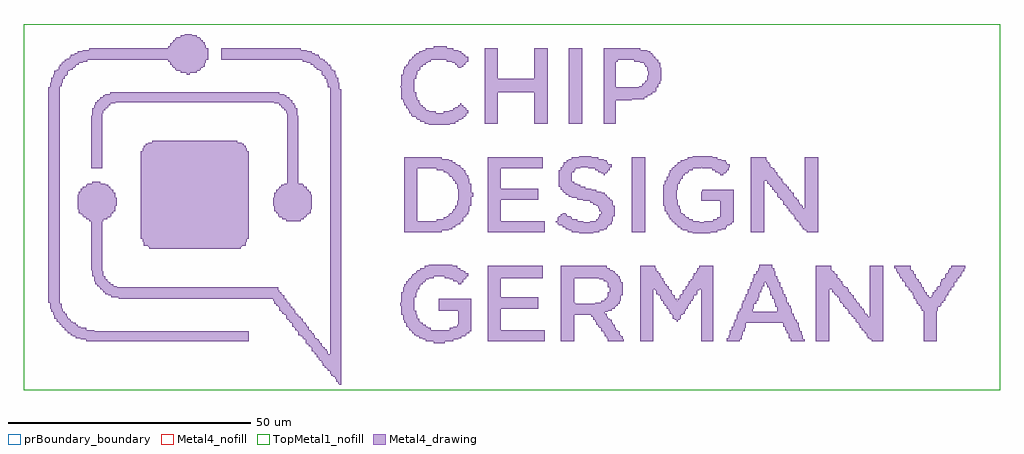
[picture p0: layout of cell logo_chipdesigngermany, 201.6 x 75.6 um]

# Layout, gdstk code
import gdstk
lib = gdstk.Library(unit=1e-6, precision=1e-09)
def R(c, l, rs):  # rectangles x0, y0, x1, y1
    for r in rs: c.add(gdstk.rectangle(r[:2], r[2:], *l))
def P(c, l, *ps):  # polygons
    for p in ps: c.add(gdstk.Polygon(p, *l))
Metal4_drawing = (50, 0)
Metal4_nofill = (50, 23)
TopMetal1_nofill = (126, 23)
prBoundary_boundary = (189, 4)

logo_chipdesigngermany = lib.new_cell('logo_chipdesigngermany')
R(logo_chipdesigngermany, Metal4_drawing, [(125.58,32.55,128.31,48.09), (112.56,55.02,115.29,70.56)])
P(logo_chipdesigngermany, Metal4_drawing, [(95.76,10.08),(95.76,25.62),(107.1,25.62),(107.1,23.1),(98.49,23.1),(98.49,19.11),(106.26,19.11),(106.26,16.8),(98.49,16.8),(98.49,12.39),(107.52,12.39),(107.52,10.08)],
  [(110.88,10.08),(110.88,23.1),(113.61,23.1),(113.61,18.06),(113.82,18.06),(113.82,17.85),(118.02,17.85),(118.02,18.06),(119.28,18.06),(119.28,18.48),(119.91,18.48),(119.91,18.9),(120.33,18.9),(120.33,19.11),(120.54,19.11),(120.54,20.16),(120.96,20.16),(120.96,21.21),(120.54,21.21),(120.54,22.26),(120.33,22.26),(120.33,22.47),(119.7,22.47),(119.7,22.89),(118.86,22.89),(118.86,23.1),(110.88,23.1),(110.88,25.62),(120.33,25.62),(120.33,25.2),(120.96,25.2),(120.96,24.78),(121.59,24.78),(121.59,24.57),(122.01,24.57),(122.01,24.15),(122.22,24.15),(122.22,23.94),(122.64,23.94),(122.64,23.52),(123.06,23.52),(123.06,22.89),(123.27,22.89),(123.27,22.26),(123.69,22.26),(123.69,19.53),(123.27,19.53),(123.27,18.48),(123.06,18.48),(123.06,17.85),(122.64,17.85),(122.64,17.43),(122.22,17.43),(122.22,17.22),(122.01,17.22),(122.01,16.8),(121.38,16.8),(121.38,16.38),(120.54,16.38),(120.54,16.17),(119.91,16.17),(119.91,15.75),(120.33,15.75),(120.33,15.12),(120.54,15.12),(120.54,14.7),(120.96,14.7),(120.96,14.49),(121.38,14.49),(121.38,13.86),(121.59,13.86),(121.59,13.44),(122.01,13.44),(122.01,12.81),(122.22,12.81),(122.22,12.39),(122.64,12.39),(122.64,12.18),(123.06,12.18),(123.06,11.34),(123.27,11.34),(123.27,11.13),(123.69,11.13),(123.69,10.5),(123.9,10.5),(123.9,10.08),(120.54,10.08),(120.54,10.71),(120.33,10.71),(120.33,11.13),(119.91,11.13),(119.91,11.76),(119.7,11.76),(119.7,12.18),(119.28,12.18),(119.28,12.81),(118.86,12.81),(118.86,13.02),(118.65,13.02),(118.65,13.44),(118.23,13.44),(118.23,14.07),(118.02,14.07),(118.02,14.49),(117.6,14.49),(117.6,15.12),(117.18,15.12),(117.18,15.54),(113.61,15.54),(113.61,10.08)],
  [(127.26,10.08),(127.26,25.62),(130.41,25.62),(130.41,25.2),(130.62,25.2),(130.62,24.57),(131.04,24.57),(131.04,24.15),(131.46,24.15),(131.46,23.52),(131.67,23.52),(131.67,23.1),(132.09,23.1),(132.09,22.47),(132.3,22.47),(132.3,21.84),(132.72,21.84),(132.72,21.42),(133.14,21.42),(133.14,20.79),(133.35,20.79),(133.35,20.58),(133.77,20.58),(133.77,19.74),(133.98,19.74),(133.98,19.53),(134.4,19.53),(134.4,18.9),(134.82,18.9),(134.82,18.48),(135.03,18.48),(135.03,18.9),(135.45,18.9),(135.45,19.53),(135.66,19.53),(135.66,19.74),(136.08,19.74),(136.08,20.58),(136.5,20.58),(136.5,20.79),(136.71,20.79),(136.71,21.42),(137.13,21.42),(137.13,21.84),(137.34,21.84),(137.34,22.47),(137.76,22.47),(137.76,22.89),(138.18,22.89),(138.18,23.52),(138.39,23.52),(138.39,24.15),(138.81,24.15),(138.81,24.57),(139.02,24.57),(139.02,25.2),(139.44,25.2),(139.44,25.62),(142.38,25.62),(142.38,10.08),(139.86,10.08),(139.86,20.79),(139.44,20.79),(139.44,20.58),(139.02,20.58),(139.02,19.74),(138.81,19.74),(138.81,19.53),(138.39,19.53),(138.39,18.9),(138.18,18.9),(138.18,18.48),(137.76,18.48),(137.76,17.85),(137.34,17.85),(137.34,17.43),(137.13,17.43),(137.13,16.8),(136.71,16.8),(136.71,16.38),(136.5,16.38),(136.5,15.75),(136.08,15.75),(136.08,15.54),(135.66,15.54),(135.66,14.7),(135.45,14.7),(135.45,14.49),(135.03,14.49),(135.03,14.07),(134.82,14.07),(134.82,14.49),(134.4,14.49),(134.4,14.7),(133.98,14.7),(133.98,15.54),(133.77,15.54),(133.77,15.75),(133.35,15.75),(133.35,16.38),(133.14,16.38),(133.14,16.8),(132.72,16.8),(132.72,17.43),(132.3,17.43),(132.3,17.85),(132.09,17.85),(132.09,18.48),(131.67,18.48),(131.67,18.9),(131.46,18.9),(131.46,19.53),(131.04,19.53),(131.04,19.74),(130.62,19.74),(130.62,20.58),(130.41,20.58),(130.41,20.79),(129.99,20.79),(129.99,10.08)],
  [(163.59,10.08),(163.59,25.62),(166.74,25.62),(166.74,24.78),(166.95,24.78),(166.95,24.57),(167.37,24.57),(167.37,24.15),(167.58,24.15),(167.58,23.94),(168,23.94),(168,23.1),(168.42,23.1),(168.42,22.89),(168.63,22.89),(168.63,22.47),(169.05,22.47),(169.05,21.84),(169.26,21.84),(169.26,21.42),(169.68,21.42),(169.68,21.21),(170.1,21.21),(170.1,20.79),(170.31,20.79),(170.31,20.16),(170.73,20.16),(170.73,19.74),(170.94,19.74),(170.94,19.53),(171.36,19.53),(171.36,18.9),(171.78,18.9),(171.78,18.48),(171.99,18.48),(171.99,18.06),(172.41,18.06),(172.41,17.85),(172.62,17.85),(172.62,17.22),(173.04,17.22),(173.04,16.8),(173.46,16.8),(173.46,16.38),(173.67,16.38),(173.67,15.75),(174.09,15.75),(174.09,15.54),(174.3,15.54),(174.3,15.12),(174.72,15.12),(174.72,25.62),(177.45,25.62),(177.45,10.08),(175.14,10.08),(175.14,10.5),(174.72,10.5),(174.72,10.71),(174.3,10.71),(174.3,11.13),(174.09,11.13),(174.09,11.76),(173.67,11.76),(173.67,12.18),(173.46,12.18),(173.46,12.39),(173.04,12.39),(173.04,12.81),(172.62,12.81),(172.62,13.44),(172.41,13.44),(172.41,13.86),(171.99,13.86),(171.99,14.07),(171.78,14.07),(171.78,14.7),(171.36,14.7),(171.36,15.12),(170.94,15.12),(170.94,15.54),(170.73,15.54),(170.73,15.75),(170.31,15.75),(170.31,16.38),(170.1,16.38),(170.1,16.8),(169.68,16.8),(169.68,17.22),(169.26,17.22),(169.26,17.85),(169.05,17.85),(169.05,18.06),(168.63,18.06),(168.63,18.48),(168.42,18.48),(168.42,19.11),(168,19.11),(168,19.53),(167.58,19.53),(167.58,19.74),(167.37,19.74),(167.37,20.16),(166.95,20.16),(166.95,20.79),(166.32,20.79),(166.32,10.08)],
  [(185.85,10.08),(185.85,16.38),(185.43,16.38),(185.43,16.8),(185.22,16.8),(185.22,17.43),(184.8,17.43),(184.8,17.85),(184.38,17.85),(184.38,18.48),(184.17,18.48),(184.17,18.9),(183.75,18.9),(183.75,19.53),(183.54,19.53),(183.54,20.16),(183.12,20.16),(183.12,20.58),(182.7,20.58),(182.7,21.21),(182.49,21.21),(182.49,21.42),(182.07,21.42),(182.07,22.26),(181.86,22.26),(181.86,22.47),(181.44,22.47),(181.44,23.1),(181.02,23.1),(181.02,23.52),(180.81,23.52),(180.81,24.15),(180.39,24.15),(180.39,24.57),(180.18,24.57),(180.18,25.2),(179.76,25.2),(179.76,25.62),(183.12,25.62),(183.12,24.78),(183.54,24.78),(183.54,24.57),(183.75,24.57),(183.75,23.94),(184.17,23.94),(184.17,23.1),(184.38,23.1),(184.38,22.89),(184.8,22.89),(184.8,22.26),(185.22,22.26),(185.22,21.84),(185.43,21.84),(185.43,21.21),(185.85,21.21),(185.85,20.58),(186.06,20.58),(186.06,20.16),(186.48,20.16),(186.48,19.53),(186.9,19.53),(186.9,19.11),(187.53,19.11),(187.53,19.53),(187.74,19.53),(187.74,20.16),(188.16,20.16),(188.16,20.58),(188.58,20.58),(188.58,21.21),(188.79,21.21),(188.79,21.42),(189.21,21.42),(189.21,22.26),(189.42,22.26),(189.42,22.89),(189.84,22.89),(189.84,23.1),(190.26,23.1),(190.26,23.94),(190.47,23.94),(190.47,24.15),(190.89,24.15),(190.89,24.78),(191.1,24.78),(191.1,25.2),(191.52,25.2),(191.52,25.62),(194.46,25.62),(194.46,25.2),(194.25,25.2),(194.25,24.57),(193.83,24.57),(193.83,24.15),(193.62,24.15),(193.62,23.52),(193.2,23.52),(193.2,23.1),(192.78,23.1),(192.78,22.47),(192.57,22.47),(192.57,22.26),(192.15,22.26),(192.15,21.42),(191.94,21.42),(191.94,21.21),(191.52,21.21),(191.52,20.58),(191.1,20.58),(191.1,20.16),(190.89,20.16),(190.89,19.53),(190.47,19.53),(190.47,19.11),(190.26,19.11),(190.26,18.48),(189.84,18.48),(189.84,18.06),(189.42,18.06),(189.42,17.43),(189.21,17.43),(189.21,17.22),(188.79,17.22),(188.79,16.38),(188.58,16.38),(188.58,10.08)],
  [(84.63,9.66),(84.63,10.08),(82.95,10.08),(82.95,10.5),(82.32,10.5),(82.32,10.71),(81.69,10.71),(81.69,11.13),(81.06,11.13),(81.06,11.34),(80.64,11.34),(80.64,11.76),(80.22,11.76),(80.22,12.18),(80.01,12.18),(80.01,12.39),(79.59,12.39),(79.59,12.81),(79.38,12.81),(79.38,13.02),(78.96,13.02),(78.96,13.86),(78.54,13.86),(78.54,14.49),(78.33,14.49),(78.33,15.54),(77.91,15.54),(77.91,17.43),(77.7,17.43),(77.7,18.06),(77.91,18.06),(77.91,20.16),(78.33,20.16),(78.33,21.21),(78.54,21.21),(78.54,21.84),(78.96,21.84),(78.96,22.47),(79.38,22.47),(79.38,22.89),(79.59,22.89),(79.59,23.1),(80.01,23.1),(80.01,23.52),(80.22,23.52),(80.22,23.94),(80.64,23.94),(80.64,24.15),(81.06,24.15),(81.06,24.57),(81.27,24.57),(81.27,24.78),(81.9,24.78),(81.9,25.2),(82.74,25.2),(82.74,25.62),(83.58,25.62),(83.58,25.83),(88.41,25.83),(88.41,25.62),(89.46,25.62),(89.46,25.2),(90.09,25.2),(90.09,24.78),(90.72,24.78),(90.72,24.57),(91.14,24.57),(91.14,24.15),(91.77,24.15),(91.77,23.52),(91.35,23.52),(91.35,23.1),(91.14,23.1),(91.14,22.89),(90.72,22.89),(90.72,22.26),(90.3,22.26),(90.3,21.84),(89.67,21.84),(89.67,22.26),(89.46,22.26),(89.46,22.47),(88.62,22.47),(88.62,22.89),(87.99,22.89),(87.99,23.1),(86.94,23.1),(86.94,23.52),(84.63,23.52),(84.63,23.1),(83.58,23.1),(83.58,22.89),(82.95,22.89),(82.95,22.47),(82.74,22.47),(82.74,22.26),(82.32,22.26),(82.32,21.84),(81.9,21.84),(81.9,21.42),(81.69,21.42),(81.69,20.79),(81.27,20.79),(81.27,20.16),(81.06,20.16),(81.06,19.11),(80.64,19.11),(80.64,16.38),(81.06,16.38),(81.06,15.54),(81.27,15.54),(81.27,14.7),(81.69,14.7),(81.69,14.07),(81.9,14.07),(81.9,13.86),(82.32,13.86),(82.32,13.44),(82.95,13.44),(82.95,13.02),(83.37,13.02),(83.37,12.81),(84,12.81),(84,12.39),(87.99,12.39),(87.99,12.81),(88.62,12.81),(88.62,13.02),(89.46,13.02),(89.46,13.44),(89.67,13.44),(89.67,16.38),(85.68,16.38),(85.68,18.9),(92.4,18.9),(92.4,12.18),(91.98,12.18),(91.98,11.76),(91.35,11.76),(91.35,11.34),(91.14,11.34),(91.14,11.13),(90.3,11.13),(90.3,10.71),(89.67,10.71),(89.67,10.5),(88.62,10.5),(88.62,10.08),(86.94,10.08),(86.94,9.66)],
  [(145.11,10.08),(145.11,10.71),(145.53,10.71),(145.53,11.34),(145.74,11.34),(145.74,12.39),(146.16,12.39),(146.16,13.02),(146.58,13.02),(146.58,13.86),(146.79,13.86),(146.79,14.49),(147.21,14.49),(147.21,15.54),(147.42,15.54),(147.42,16.17),(147.84,16.17),(147.84,16.8),(148.26,16.8),(148.26,17.85),(148.47,17.85),(148.47,18.48),(148.89,18.48),(148.89,19.11),(149.1,19.11),(149.1,19.74),(149.52,19.74),(149.52,20.79),(149.94,20.79),(149.94,21.42),(150.15,21.42),(150.15,22.26),(152.88,22.26),(152.88,21.42),(152.46,21.42),(152.46,20.79),(152.25,20.79),(152.25,20.16),(151.83,20.16),(151.83,19.11),(151.62,19.11),(151.62,18.48),(151.2,18.48),(151.2,17.85),(150.78,17.85),(150.78,16.8),(150.57,16.8),(150.57,16.17),(155.61,16.17),(155.61,17.22),(155.19,17.22),(155.19,18.06),(154.98,18.06),(154.98,18.9),(154.56,18.9),(154.56,19.53),(154.14,19.53),(154.14,20.58),(153.93,20.58),(153.93,21.21),(153.51,21.21),(153.51,21.84),(153.3,21.84),(153.3,22.26),(150.57,22.26),(150.57,23.1),(150.78,23.1),(150.78,23.94),(151.2,23.94),(151.2,24.57),(151.62,24.57),(151.62,25.2),(151.83,25.2),(151.83,25.83),(154.56,25.83),(154.56,25.2),(154.98,25.2),(154.98,24.57),(155.19,24.57),(155.19,23.52),(155.61,23.52),(155.61,22.89),(155.82,22.89),(155.82,22.26),(156.24,22.26),(156.24,21.21),(156.66,21.21),(156.66,20.58),(156.87,20.58),(156.87,19.74),(157.29,19.74),(157.29,19.11),(157.5,19.11),(157.5,18.06),(157.92,18.06),(157.92,17.43),(158.34,17.43),(158.34,16.8),(158.55,16.8),(158.55,15.75),(158.97,15.75),(158.97,15.12),(159.18,15.12),(159.18,14.49),(159.6,14.49),(159.6,13.86),(160.02,13.86),(160.02,12.81),(160.23,12.81),(160.23,12.18),(160.65,12.18),(160.65,11.34),(160.86,11.34),(160.86,10.5),(161.28,10.5),(161.28,10.08),(158.34,10.08),(158.34,10.71),(157.92,10.71),(157.92,11.76),(157.5,11.76),(157.5,12.39),(157.29,12.39),(157.29,13.02),(156.87,13.02),(156.87,13.86),(149.1,13.86),(149.1,12.81),(148.89,12.81),(148.89,12.18),(148.47,12.18),(148.47,11.34),(148.26,11.34),(148.26,10.5),(147.84,10.5),(147.84,10.08)],
  [(78.54,32.55),(78.54,45.78),(81.27,45.78),(81.27,34.86),(85.26,34.86),(85.26,35.28),(86.73,35.28),(86.73,35.7),(87.36,35.7),(87.36,35.91),(87.78,35.91),(87.78,36.33),(87.99,36.33),(87.99,36.54),(88.41,36.54),(88.41,36.96),(88.62,36.96),(88.62,37.38),(89.04,37.38),(89.04,38.01),(89.46,38.01),(89.46,39.06),(89.67,39.06),(89.67,41.58),(89.46,41.58),(89.46,42.63),(89.04,42.63),(89.04,43.26),(88.62,43.26),(88.62,43.68),(88.41,43.68),(88.41,44.1),(87.99,44.1),(87.99,44.31),(87.78,44.31),(87.78,44.73),(87.36,44.73),(87.36,44.94),(86.73,44.94),(86.73,45.36),(85.26,45.36),(85.26,45.78),(78.54,45.78),(78.54,48.09),(86.31,48.09),(86.31,47.67),(87.78,47.67),(87.78,47.46),(88.41,47.46),(88.41,47.04),(89.04,47.04),(89.04,46.62),(89.46,46.62),(89.46,46.41),(90.09,46.41),(90.09,45.99),(90.3,45.99),(90.3,45.78),(90.72,45.78),(90.72,45.36),(91.14,45.36),(91.14,44.73),(91.35,44.73),(91.35,44.31),(91.77,44.31),(91.77,43.68),(91.98,43.68),(91.98,42.63),(92.4,42.63),(92.4,40.74),(92.82,40.74),(92.82,39.9),(92.4,39.9),(92.4,38.01),(91.98,38.01),(91.98,36.96),(91.77,36.96),(91.77,36.33),(91.35,36.33),(91.35,35.91),(91.14,35.91),(91.14,35.7),(90.72,35.7),(90.72,34.86),(90.3,34.86),(90.3,34.65),(90.09,34.65),(90.09,34.23),(89.46,34.23),(89.46,34.02),(89.04,34.02),(89.04,33.6),(88.41,33.6),(88.41,33.18),(87.78,33.18),(87.78,32.97),(86.31,32.97),(86.31,32.55)],
  [(95.76,32.55),(95.76,48.09),(107.1,48.09),(107.1,45.78),(98.49,45.78),(98.49,41.58),(106.26,41.58),(106.26,39.27),(98.49,39.27),(98.49,34.86),(107.52,34.86),(107.52,32.55)],
  [(150.15,32.55),(150.15,48.09),(153.3,48.09),(153.3,47.46),(153.51,47.46),(153.51,47.04),(153.93,47.04),(153.93,46.62),(154.14,46.62),(154.14,45.99),(154.56,45.99),(154.56,45.78),(154.98,45.78),(154.98,45.36),(155.19,45.36),(155.19,44.94),(155.61,44.94),(155.61,44.31),(155.82,44.31),(155.82,44.1),(156.24,44.1),(156.24,43.68),(156.66,43.68),(156.66,43.05),(156.87,43.05),(156.87,42.63),(157.29,42.63),(157.29,42.42),(157.5,42.42),(157.5,42),(157.92,42),(157.92,41.37),(158.34,41.37),(158.34,40.95),(158.55,40.95),(158.55,40.74),(158.97,40.74),(158.97,39.9),(159.18,39.9),(159.18,39.69),(159.6,39.69),(159.6,39.27),(160.02,39.27),(160.02,38.64),(160.23,38.64),(160.23,38.22),(160.65,38.22),(160.65,38.01),(160.86,38.01),(160.86,37.59),(161.28,37.59),(161.28,48.09),(164.01,48.09),(164.01,32.55),(161.7,32.55),(161.7,32.97),(161.28,32.97),(161.28,33.18),(160.86,33.18),(160.86,33.6),(160.65,33.6),(160.65,34.02),(160.23,34.02),(160.23,34.65),(160.02,34.65),(160.02,34.86),(159.6,34.86),(159.6,35.28),(159.18,35.28),(159.18,35.91),(158.97,35.91),(158.97,36.33),(158.55,36.33),(158.55,36.54),(158.34,36.54),(158.34,36.96),(157.92,36.96),(157.92,37.59),(157.5,37.59),(157.5,38.01),(157.29,38.01),(157.29,38.22),(156.87,38.22),(156.87,39.06),(156.66,39.06),(156.66,39.27),(156.24,39.27),(156.24,39.69),(155.82,39.69),(155.82,39.9),(155.61,39.9),(155.61,40.74),(155.19,40.74),(155.19,40.95),(154.98,40.95),(154.98,41.37),(154.56,41.37),(154.56,42),(154.14,42),(154.14,42.42),(153.93,42.42),(153.93,42.63),(153.51,42.63),(153.51,43.26),(152.88,43.26),(152.88,32.55)],
  [(114.66,32.34),(114.66,32.55),(113.19,32.55),(113.19,32.97),(112.56,32.97),(112.56,33.18),(111.93,33.18),(111.93,33.6),(111.3,33.6),(111.3,34.02),(110.46,34.02),(110.46,34.23),(110.25,34.23),(110.25,34.65),(109.83,34.65),(109.83,34.86),(110.25,34.86),(110.25,35.7),(110.46,35.7),(110.46,35.91),(110.88,35.91),(110.88,36.33),(111.3,36.33),(111.3,36.54),(111.93,36.54),(111.93,36.33),(112.14,36.33),(112.14,35.91),(112.98,35.91),(112.98,35.7),(113.19,35.7),(113.19,35.28),(114.24,35.28),(114.24,34.86),(115.5,34.86),(115.5,34.65),(116.97,34.65),(116.97,34.86),(118.23,34.86),(118.23,35.28),(118.65,35.28),(118.65,35.7),(118.86,35.7),(118.86,36.33),(119.28,36.33),(119.28,36.96),(118.86,36.96),(118.86,37.59),(118.65,37.59),(118.65,38.01),(118.23,38.01),(118.23,38.22),(117.6,38.22),(117.6,38.64),(116.97,38.64),(116.97,39.06),(115.5,39.06),(115.5,39.27),(114.24,39.27),(114.24,39.69),(113.19,39.69),(113.19,39.9),(112.56,39.9),(112.56,40.32),(111.93,40.32),(111.93,40.74),(111.51,40.74),(111.51,40.95),(111.3,40.95),(111.3,41.37),(110.88,41.37),(110.88,42),(110.46,42),(110.46,45.36),(110.88,45.36),(110.88,45.99),(111.3,45.99),(111.3,46.41),(111.51,46.41),(111.51,47.04),(112.14,47.04),(112.14,47.46),(112.56,47.46),(112.56,47.67),(113.19,47.67),(113.19,48.09),(114.66,48.09),(114.66,48.3),(117.18,48.3),(117.18,48.09),(118.65,48.09),(118.65,47.67),(119.7,47.67),(119.7,47.46),(120.33,47.46),(120.33,47.04),(120.54,47.04),(120.54,46.62),(121.38,46.62),(121.38,45.99),(120.96,45.99),(120.96,45.36),(120.54,45.36),(120.54,44.94),(120.33,44.94),(120.33,44.73),(119.91,44.73),(119.91,44.31),(119.7,44.31),(119.7,44.73),(119.28,44.73),(119.28,44.94),(118.65,44.94),(118.65,45.36),(118.02,45.36),(118.02,45.78),(116.55,45.78),(116.55,45.99),(114.87,45.99),(114.87,45.78),(113.82,45.78),(113.82,45.36),(113.61,45.36),(113.61,44.94),(113.19,44.94),(113.19,43.05),(113.61,43.05),(113.61,42.63),(114.24,42.63),(114.24,42.42),(114.87,42.42),(114.87,42),(115.92,42),(115.92,41.58),(117.18,41.58),(117.18,41.37),(118.23,41.37),(118.23,40.95),(119.28,40.95),(119.28,40.74),(119.91,40.74),(119.91,40.32),(120.33,40.32),(120.33,39.9),(120.54,39.9),(120.54,39.69),(120.96,39.69),(120.96,39.27),(121.38,39.27),(121.38,39.06),(121.59,39.06),(121.59,38.01),(122.01,38.01),(122.01,35.91),(121.59,35.91),(121.59,34.86),(121.38,34.86),(121.38,34.23),(120.96,34.23),(120.96,34.02),(120.54,34.02),(120.54,33.6),(120.33,33.6),(120.33,33.18),(119.7,33.18),(119.7,32.97),(118.86,32.97),(118.86,32.55),(117.6,32.55),(117.6,32.34)],
  [(138.18,32.34),(138.18,32.55),(137.13,32.55),(137.13,32.97),(136.08,32.97),(136.08,33.18),(135.66,33.18),(135.66,33.6),(135.03,33.6),(135.03,34.02),(134.82,34.02),(134.82,34.23),(134.4,34.23),(134.4,34.65),(133.98,34.65),(133.98,34.86),(133.77,34.86),(133.77,35.28),(133.35,35.28),(133.35,35.7),(133.14,35.7),(133.14,36.33),(132.72,36.33),(132.72,36.96),(132.3,36.96),(132.3,38.01),(132.09,38.01),(132.09,42.42),(132.3,42.42),(132.3,43.26),(132.72,43.26),(132.72,44.1),(133.14,44.1),(133.14,44.73),(133.35,44.73),(133.35,45.36),(133.77,45.36),(133.77,45.78),(133.98,45.78),(133.98,45.99),(134.4,45.99),(134.4,46.41),(134.82,46.41),(134.82,46.62),(135.03,46.62),(135.03,47.04),(135.66,47.04),(135.66,47.46),(136.5,47.46),(136.5,47.67),(137.13,47.67),(137.13,48.09),(138.18,48.09),(138.18,48.3),(142.17,48.3),(142.17,48.09),(143.22,48.09),(143.22,47.67),(144.06,47.67),(144.06,47.46),(144.9,47.46),(144.9,47.04),(145.11,47.04),(145.11,46.62),(145.74,46.62),(145.74,45.99),(145.53,45.99),(145.53,45.36),(145.11,45.36),(145.11,44.94),(144.9,44.94),(144.9,44.73),(144.48,44.73),(144.48,44.31),(143.85,44.31),(143.85,44.73),(143.43,44.73),(143.43,44.94),(142.8,44.94),(142.8,45.36),(142.17,45.36),(142.17,45.78),(140.07,45.78),(140.07,45.99),(139.86,45.99),(139.86,45.78),(138.18,45.78),(138.18,45.36),(137.34,45.36),(137.34,44.94),(137.13,44.94),(137.13,44.73),(136.5,44.73),(136.5,44.31),(136.08,44.31),(136.08,43.68),(135.66,43.68),(135.66,43.26),(135.45,43.26),(135.45,42.63),(135.03,42.63),(135.03,41.37),(134.82,41.37),(134.82,39.27),(135.03,39.27),(135.03,38.01),(135.45,38.01),(135.45,37.38),(135.66,37.38),(135.66,36.54),(136.08,36.54),(136.08,36.33),(136.5,36.33),(136.5,35.91),(136.71,35.91),(136.71,35.7),(137.34,35.7),(137.34,35.28),(138.18,35.28),(138.18,34.86),(139.44,34.86),(139.44,34.65),(140.49,34.65),(140.49,34.86),(142.38,34.86),(142.38,35.28),(143.22,35.28),(143.22,35.7),(143.85,35.7),(143.85,39.06),(139.86,39.06),(139.86,40.95),(140.07,40.95),(140.07,41.37),(146.58,41.37),(146.58,34.65),(146.16,34.65),(146.16,34.23),(145.74,34.23),(145.74,34.02),(145.11,34.02),(145.11,33.6),(144.9,33.6),(144.9,33.18),(144.06,33.18),(144.06,32.97),(143.22,32.97),(143.22,32.55),(141.75,32.55),(141.75,32.34)],
  [(25.83,29.19),(25.83,29.61),(25.62,29.61),(25.62,29.82),(24.78,29.82),(24.78,30.66),(24.57,30.66),(24.57,31.29),(24.15,31.29),(24.15,49.35),(24.57,49.35),(24.57,49.98),(24.78,49.98),(24.78,50.4),(25.2,50.4),(25.2,50.82),(25.62,50.82),(25.62,51.03),(26.46,51.03),(26.46,51.45),(44.1,51.45),(44.1,51.03),(44.94,51.03),(44.94,50.82),(45.36,50.82),(45.36,50.4),(45.78,50.4),(45.78,49.98),(45.99,49.98),(45.99,49.35),(46.41,49.35),(46.41,31.29),(45.99,31.29),(45.99,30.66),(45.78,30.66),(45.78,29.82),(44.94,29.82),(44.94,29.61),(44.73,29.61),(44.73,29.19)],
  [(54.18,34.86),(54.18,35.28),(53.34,35.28),(53.34,35.7),(52.71,35.7),(52.71,35.91),(52.5,35.91),(52.5,36.54),(52.08,36.54),(52.08,36.96),(51.66,36.96),(51.66,38.01),(51.45,38.01),(51.45,39.69),(51.66,39.69),(51.66,40.74),(52.08,40.74),(52.08,41.37),(52.5,41.37),(52.5,41.58),(52.71,41.58),(52.71,42),(53.13,42),(53.13,42.42),(53.76,42.42),(53.76,42.63),(54.39,42.63),(54.39,57.12),(54.18,57.12),(54.18,57.75),(53.76,57.75),(53.76,58.17),(53.34,58.17),(53.34,58.38),(53.13,58.38),(53.13,58.8),(52.71,58.8),(52.71,59.22),(51.66,59.22),(51.66,59.43),(18.9,59.43),(18.9,59.22),(17.85,59.22),(17.85,58.8),(17.43,58.8),(17.43,58.38),(17.22,58.38),(17.22,58.17),(16.8,58.17),(16.8,57.75),(16.38,57.75),(16.38,57.12),(16.17,57.12),(16.17,45.78),(13.86,45.78),(13.86,56.7),(14.07,56.7),(14.07,58.17),(14.49,58.17),(14.49,58.8),(14.7,58.8),(14.7,59.43),(15.12,59.43),(15.12,59.85),(15.54,59.85),(15.54,60.06),(15.75,60.06),(15.75,60.48),(16.38,60.48),(16.38,60.9),(16.8,60.9),(16.8,61.11),(17.85,61.11),(17.85,61.53),(52.71,61.53),(52.71,61.11),(53.76,61.11),(53.76,60.9),(54.18,60.9),(54.18,60.48),(54.81,60.48),(54.81,60.06),(55.02,60.06),(55.02,59.85),(55.44,59.85),(55.44,59.22),(55.86,59.22),(55.86,58.8),(56.07,58.8),(56.07,58.17),(56.49,58.17),(56.49,56.7),(56.7,56.7),(56.7,42.63),(57.54,42.63),(57.54,42.42),(57.75,42.42),(57.75,42),(58.38,42),(58.38,41.37),(58.8,41.37),(58.8,40.95),(59.22,40.95),(59.22,40.32),(59.43,40.32),(59.43,37.38),(59.22,37.38),(59.22,36.54),(58.8,36.54),(58.8,36.33),(58.38,36.33),(58.38,35.91),(58.17,35.91),(58.17,35.7),(57.75,35.7),(57.75,35.28),(57.12,35.28),(57.12,34.86)],
  [(65.1,1.05),(65.1,1.26),(64.89,1.26),(64.89,1.68),(64.47,1.68),(64.47,2.31),(64.26,2.31),(64.26,2.73),(63.84,2.73),(63.84,2.94),(63.42,2.94),(63.42,3.36),(63.21,3.36),(63.21,3.99),(62.79,3.99),(62.79,4.41),(62.58,4.41),(62.58,4.62),(62.16,4.62),(62.16,5.04),(61.74,5.04),(61.74,5.67),(61.53,5.67),(61.53,6.09),(61.11,6.09),(61.11,6.3),(60.9,6.3),(60.9,6.72),(60.48,6.72),(60.48,7.35),(60.06,7.35),(60.06,7.77),(59.85,7.77),(59.85,7.98),(59.43,7.98),(59.43,8.82),(59.22,8.82),(59.22,9.03),(58.8,9.03),(58.8,9.45),(58.38,9.45),(58.38,9.66),(58.17,9.66),(58.17,10.5),(57.75,10.5),(57.75,10.71),(57.54,10.71),(57.54,11.13),(57.12,11.13),(57.12,11.34),(56.7,11.34),(56.7,12.18),(56.49,12.18),(56.49,12.39),(56.07,12.39),(56.07,12.81),(55.86,12.81),(55.86,13.02),(55.44,13.02),(55.44,13.86),(55.02,13.86),(55.02,14.07),(54.81,14.07),(54.81,14.49),(54.39,14.49),(54.39,14.7),(54.18,14.7),(54.18,15.54),(53.76,15.54),(53.76,15.75),(53.34,15.75),(53.34,16.17),(53.13,16.17),(53.13,16.38),(52.71,16.38),(52.71,17.22),(52.5,17.22),(52.5,17.43),(52.08,17.43),(52.08,17.85),(51.66,17.85),(51.66,18.48),(51.45,18.48),(51.45,18.9),(19.53,18.9),(19.53,19.11),(18.06,19.11),(18.06,19.53),(17.43,19.53),(17.43,19.74),(16.8,19.74),(16.8,20.16),(16.38,20.16),(16.38,20.58),(16.17,20.58),(16.17,20.79),(15.75,20.79),(15.75,21.21),(15.54,21.21),(15.54,21.42),(15.12,21.42),(15.12,21.84),(14.7,21.84),(14.7,22.47),(14.49,22.47),(14.49,23.52),(14.07,23.52),(14.07,24.78),(13.86,24.78),(13.86,34.86),(13.44,34.86),(13.44,35.28),(12.81,35.28),(12.81,35.7),(12.39,35.7),(12.39,35.91),(12.18,35.91),(12.18,36.33),(11.76,36.33),(11.76,36.54),(11.34,36.54),(11.34,37.38),(11.13,37.38),(11.13,40.32),(11.34,40.32),(11.34,40.95),(11.76,40.95),(11.76,41.58),(12.18,41.58),(12.18,42),(12.81,42),(12.81,42.42),(13.02,42.42),(13.02,42.63),(14.07,42.63),(14.07,43.05),(15.75,43.05),(15.75,42.63),(16.8,42.63),(16.8,42.42),(17.43,42.42),(17.43,42),(17.85,42),(17.85,41.58),(18.06,41.58),(18.06,41.37),(18.48,41.37),(18.48,40.74),(18.9,40.74),(18.9,39.69),(19.11,39.69),(19.11,38.01),(18.9,38.01),(18.9,36.96),(18.48,36.96),(18.48,36.54),(18.06,36.54),(18.06,35.91),(17.85,35.91),(17.85,35.7),(17.22,35.7),(17.22,35.28),(16.38,35.28),(16.38,34.86),(16.17,34.86),(16.17,24.57),(16.38,24.57),(16.38,23.52),(16.8,23.52),(16.8,22.89),(17.22,22.89),(17.22,22.47),(17.43,22.47),(17.43,22.26),(17.85,22.26),(17.85,21.84),(18.48,21.84),(18.48,21.42),(19.11,21.42),(19.11,21.21),(52.5,21.21),(52.5,20.58),(52.71,20.58),(52.71,20.16),(53.13,20.16),(53.13,19.74),(53.34,19.74),(53.34,19.53),(53.76,19.53),(53.76,18.9),(54.18,18.9),(54.18,18.48),(54.39,18.48),(54.39,18.06),(54.81,18.06),(54.81,17.85),(55.02,17.85),(55.02,17.22),(55.44,17.22),(55.44,16.8),(55.86,16.8),(55.86,16.38),(56.07,16.38),(56.07,15.75),(56.49,15.75),(56.49,15.54),(56.7,15.54),(56.7,15.12),(57.12,15.12),(57.12,14.7),(57.54,14.7),(57.54,14.07),(57.75,14.07),(57.75,13.86),(58.17,13.86),(58.17,13.44),(58.38,13.44),(58.38,13.02),(58.8,13.02),(58.8,12.39),(59.22,12.39),(59.22,12.18),(59.43,12.18),(59.43,11.76),(59.85,11.76),(59.85,11.34),(60.06,11.34),(60.06,10.71),(60.48,10.71),(60.48,10.5),(60.9,10.5),(60.9,10.08),(61.11,10.08),(61.11,9.66),(61.53,9.66),(61.53,9.03),(61.74,9.03),(61.74,8.82),(62.16,8.82),(62.16,8.4),(62.58,8.4),(62.58,7.98),(62.79,7.98),(62.79,7.35),(63.21,7.35),(63.21,62.58),(62.79,62.58),(62.79,63.42),(62.58,63.42),(62.58,64.26),(62.16,64.26),(62.16,64.89),(61.74,64.89),(61.74,65.1),(61.53,65.1),(61.53,65.94),(61.11,65.94),(61.11,66.15),(60.48,66.15),(60.48,66.57),(60.06,66.57),(60.06,66.78),(59.85,66.78),(59.85,67.2),(59.22,67.2),(59.22,67.62),(58.38,67.62),(58.38,67.83),(57.54,67.83),(57.54,68.25),(40.74,68.25),(40.74,70.56),(57.12,70.56),(57.12,70.14),(58.38,70.14),(58.38,69.93),(59.43,69.93),(59.43,69.51),(60.06,69.51),(60.06,69.3),(60.9,69.3),(60.9,68.88),(61.11,68.88),(61.11,68.46),(61.74,68.46),(61.74,68.25),(62.16,68.25),(62.16,67.83),(62.58,67.83),(62.58,67.62),(62.79,67.62),(62.79,67.2),(63.21,67.2),(63.21,66.78),(63.42,66.78),(63.42,66.15),(63.84,66.15),(63.84,65.94),(64.26,65.94),(64.26,65.1),(64.47,65.1),(64.47,64.47),(64.89,64.47),(64.89,63.42),(65.1,63.42),(65.1,62.16),(65.52,62.16),(65.52,1.05)],
  [(95.13,55.02),(95.13,70.56),(97.86,70.56),(97.86,64.26),(105.42,64.26),(105.42,70.56),(108.15,70.56),(108.15,55.02),(105.42,55.02),(105.42,61.53),(97.86,61.53),(97.86,55.02)],
  [(119.7,55.02),(119.7,68.25),(122.64,68.25),(122.64,67.83),(122.22,67.83),(122.22,62.58),(127.05,62.58),(127.05,62.79),(127.68,62.79),(127.68,63.21),(128.1,63.21),(128.1,63.42),(128.31,63.42),(128.31,63.84),(128.73,63.84),(128.73,64.89),(128.94,64.89),(128.94,65.94),(128.73,65.94),(128.73,66.78),(128.31,66.78),(128.31,67.2),(128.1,67.2),(128.1,67.62),(127.26,67.62),(127.26,67.83),(126,67.83),(126,68.25),(119.7,68.25),(119.7,70.56),(127.26,70.56),(127.26,70.14),(128.73,70.14),(128.73,69.93),(129.36,69.93),(129.36,69.51),(129.78,69.51),(129.78,69.3),(129.99,69.3),(129.99,68.88),(130.41,68.88),(130.41,68.46),(130.62,68.46),(130.62,68.25),(131.04,68.25),(131.04,67.62),(131.46,67.62),(131.46,66.57),(131.67,66.57),(131.67,63.84),(131.46,63.84),(131.46,63.21),(131.04,63.21),(131.04,62.58),(130.62,62.58),(130.62,61.74),(130.41,61.74),(130.41,61.53),(129.78,61.53),(129.78,61.11),(129.36,61.11),(129.36,60.9),(128.73,60.9),(128.73,60.48),(128.1,60.48),(128.1,60.06),(125.58,60.06),(125.58,59.85),(122.22,59.85),(122.22,55.02)],
  [(83.58,54.81),(83.58,55.02),(82.74,55.02),(82.74,55.44),(81.9,55.44),(81.9,55.86),(81.27,55.86),(81.27,56.07),(81.06,56.07),(81.06,56.49),(80.22,56.49),(80.22,56.7),(80.01,56.7),(80.01,57.12),(79.59,57.12),(79.59,57.75),(79.38,57.75),(79.38,58.17),(78.96,58.17),(78.96,58.8),(78.54,58.8),(78.54,59.43),(78.33,59.43),(78.33,60.06),(77.91,60.06),(77.91,62.58),(77.7,62.58),(77.7,62.79),(77.91,62.79),(77.91,65.1),(78.33,65.1),(78.33,66.15),(78.54,66.15),(78.54,66.78),(78.96,66.78),(78.96,67.2),(79.38,67.2),(79.38,67.83),(79.59,67.83),(79.59,68.25),(80.01,68.25),(80.01,68.46),(80.22,68.46),(80.22,68.88),(80.64,68.88),(80.64,69.3),(81.06,69.3),(81.06,69.51),(81.69,69.51),(81.69,69.93),(82.32,69.93),(82.32,70.14),(82.95,70.14),(82.95,70.56),(84.63,70.56),(84.63,70.98),(87.36,70.98),(87.36,70.56),(88.62,70.56),(88.62,70.14),(89.67,70.14),(89.67,69.93),(90.3,69.93),(90.3,69.51),(90.72,69.51),(90.72,69.3),(91.14,69.3),(91.14,68.88),(91.77,68.88),(91.77,67.83),(91.35,67.83),(91.35,67.62),(91.14,67.62),(91.14,67.2),(90.72,67.2),(90.72,66.78),(90.3,66.78),(90.3,66.57),(89.67,66.57),(89.67,66.78),(89.46,66.78),(89.46,67.2),(89.04,67.2),(89.04,67.62),(88.41,67.62),(88.41,67.83),(87.36,67.83),(87.36,68.25),(84,68.25),(84,67.83),(83.37,67.83),(83.37,67.62),(82.95,67.62),(82.95,67.2),(82.32,67.2),(82.32,66.78),(81.9,66.78),(81.9,66.15),(81.69,66.15),(81.69,65.94),(81.27,65.94),(81.27,65.1),(81.06,65.1),(81.06,64.26),(80.64,64.26),(80.64,61.53),(81.06,61.53),(81.06,60.48),(81.27,60.48),(81.27,59.85),(81.69,59.85),(81.69,59.22),(81.9,59.22),(81.9,58.8),(82.32,58.8),(82.32,58.38),(82.74,58.38),(82.74,58.17),(82.95,58.17),(82.95,57.75),(83.58,57.75),(83.58,57.54),(85.05,57.54),(85.05,57.12),(86.73,57.12),(86.73,57.54),(87.99,57.54),(87.99,57.75),(88.62,57.75),(88.62,58.17),(89.04,58.17),(89.04,58.38),(89.67,58.38),(89.67,58.8),(90.09,58.8),(90.09,59.22),(90.3,59.22),(90.3,58.8),(90.72,58.8),(90.72,58.38),(91.14,58.38),(91.14,58.17),(91.35,58.17),(91.35,57.75),(91.77,57.75),(91.77,57.12),(91.35,57.12),(91.35,56.7),(91.14,56.7),(91.14,56.49),(90.72,56.49),(90.72,56.07),(90.3,56.07),(90.3,55.86),(89.67,55.86),(89.67,55.44),(89.04,55.44),(89.04,55.02),(87.99,55.02),(87.99,54.81)],
  [(12.81,10.08),(12.81,10.5),(11.76,10.5),(11.76,10.71),(10.71,10.71),(10.71,11.13),(10.08,11.13),(10.08,11.34),(9.66,11.34),(9.66,11.76),(9.03,11.76),(9.03,12.18),(8.82,12.18),(8.82,12.39),(8.4,12.39),(8.4,12.81),(7.98,12.81),(7.98,13.02),(7.77,13.02),(7.77,13.44),(7.35,13.44),(7.35,13.86),(7.14,13.86),(7.14,14.07),(6.72,14.07),(6.72,14.7),(6.3,14.7),(6.3,15.54),(6.09,15.54),(6.09,16.17),(5.67,16.17),(5.67,16.8),(5.46,16.8),(5.46,18.06),(5.04,18.06),(5.04,62.58),(5.46,62.58),(5.46,63.42),(5.67,63.42),(5.67,64.47),(6.09,64.47),(6.09,65.1),(6.3,65.1),(6.3,65.94),(6.72,65.94),(6.72,66.15),(7.14,66.15),(7.14,66.78),(7.35,66.78),(7.35,67.2),(7.77,67.2),(7.77,67.62),(7.98,67.62),(7.98,67.83),(8.4,67.83),(8.4,68.25),(8.82,68.25),(8.82,68.46),(9.45,68.46),(9.45,68.88),(9.66,68.88),(9.66,69.3),(10.5,69.3),(10.5,69.51),(11.13,69.51),(11.13,69.93),(12.18,69.93),(12.18,70.14),(13.44,70.14),(13.44,70.56),(29.82,70.56),(29.82,70.98),(30.24,70.98),(30.24,71.61),(30.66,71.61),(30.66,71.82),(30.87,71.82),(30.87,72.24),(31.29,72.24),(31.29,72.66),(31.5,72.66),(31.5,72.87),(32.34,72.87),(32.34,73.29),(33.18,73.29),(33.18,73.5),(34.65,73.5),(34.65,73.29),(35.7,73.29),(35.7,72.87),(36.33,72.87),(36.33,72.66),(36.54,72.66),(36.54,72.24),(36.96,72.24),(36.96,71.82),(37.38,71.82),(37.38,71.19),(37.59,71.19),(37.59,70.56),(38.01,70.56),(38.01,68.25),(37.59,68.25),(37.59,67.62),(37.38,67.62),(37.38,66.78),(36.96,66.78),(36.96,66.57),(36.54,66.57),(36.54,66.15),(36.33,66.15),(36.33,65.94),(35.7,65.94),(35.7,65.52),(34.23,65.52),(34.23,65.1),(33.6,65.1),(33.6,65.52),(32.34,65.52),(32.34,65.94),(31.5,65.94),(31.5,66.15),(31.29,66.15),(31.29,66.57),(30.87,66.57),(30.87,66.78),(30.66,66.78),(30.66,67.2),(30.24,67.2),(30.24,67.83),(29.82,67.83),(29.82,68.25),(13.02,68.25),(13.02,67.83),(12.18,67.83),(12.18,67.62),(11.34,67.62),(11.34,67.2),(10.71,67.2),(10.71,66.78),(10.5,66.78),(10.5,66.57),(10.08,66.57),(10.08,66.15),(9.45,66.15),(9.45,65.94),(9.03,65.94),(9.03,65.1),(8.82,65.1),(8.82,64.89),(8.4,64.89),(8.4,64.26),(7.98,64.26),(7.98,63.42),(7.77,63.42),(7.77,62.79),(7.35,62.79),(7.35,17.85),(7.77,17.85),(7.77,16.8),(7.98,16.8),(7.98,16.17),(8.4,16.17),(8.4,15.75),(8.82,15.75),(8.82,15.12),(9.03,15.12),(9.03,14.7),(9.45,14.7),(9.45,14.49),(9.66,14.49),(9.66,14.07),(10.08,14.07),(10.08,13.86),(10.71,13.86),(10.71,13.44),(11.13,13.44),(11.13,13.02),(11.76,13.02),(11.76,12.81),(12.81,12.81),(12.81,12.39),(14.49,12.39),(14.49,12.18),(46.41,12.18),(46.41,10.08)])
R(logo_chipdesigngermany, Metal4_nofill, [(0,0,201.6,75.6)])
R(logo_chipdesigngermany, TopMetal1_nofill, [(0,0,201.6,75.6)])
R(logo_chipdesigngermany, prBoundary_boundary, [(0,0,201.6,75.6)])

lib.write_gds('logo_chipdesigngermany.gds')
